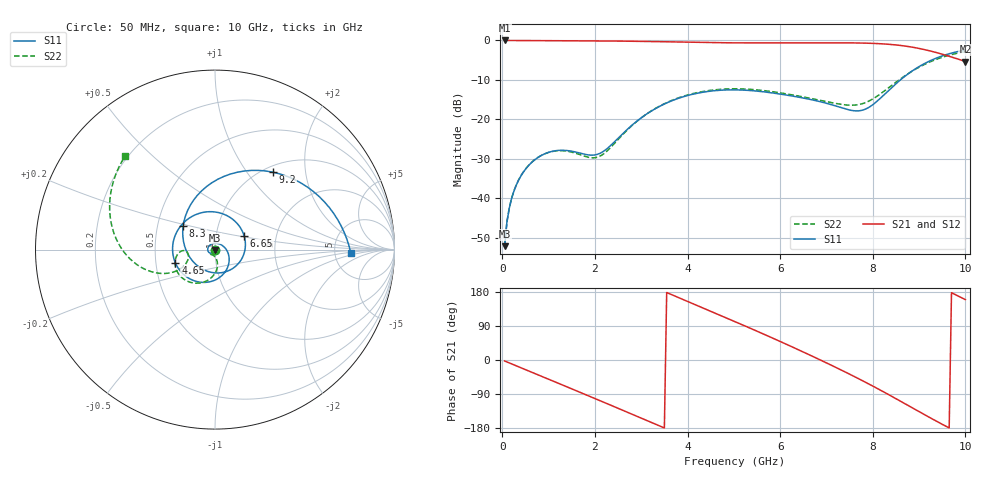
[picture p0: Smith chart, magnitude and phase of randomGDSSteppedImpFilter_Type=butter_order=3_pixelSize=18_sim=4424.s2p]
! freq	dB(S11)	phase(S11)	dB(S12)	phase(S12)
!  dB(S21)	phase(S21)	dB(S22)	phase(S22)
!S-par simulation data
#  GHz  S  DB  R 50
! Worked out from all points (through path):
!   200 points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, 50 MHz to 10 GHz, reference 50 ohm
!   highest |S21| = -0.01 dB at 50 MHz (marker M1); lowest = -5.3 dB at 10 GHz (marker M2)
!   group delay of S21, straight-line fit = 154 ps
!   lowest |S11| = -52.1 dB at 50 MHz (marker M3), VSWR 1.00, Z = 50 - j0.247 ohm
!   |S11| at or under -10 dB: start of sweep to 8.596 GHz
!   |S22| runs from -52.1 to -2.8 dB; largest |S21 - S12| = 0
!   S11 on the Smith chart (normalised r, x): 50 MHz: 1.00, -0.00; 4.65 GHz: 0.63, -0.10; 6.65 GHz: 1.37, +0.21; 8.3 GHz: 0.68, +0.19; 9.2 GHz: 1.10, +1.34; 10 GHz: 7.17, -0.60
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0.05  -52.11 -85.3  -0.01 -2.6  -0.01 -2.6  -52.06 -83.8
0.1  -46.02 -92.4  -0.01 -5.1  -0.01 -5.1  -45.96 -89.4
0.2  -40.09 -101.1  -0.02 -10.2  -0.02 -10.2  -40.02 -95.1
0.55  -31.92 -126.6  -0.04 -28.0  -0.04 -28.0  -31.87 -109.7
1.1  -28.04 -167.4  -0.07 -55.8  -0.07 -55.8  -28.09 -127.0
1.75  -28.75 125.8  -0.11 -88.9  -0.11 -88.9  -29.22 -127.3
2.1  -28.64 68.9  -0.13 -106.8  -0.13 -106.8  -29.37 -103.3
2.5  -24.78 8.0  -0.16 -127.4  -0.16 -127.4  -25.10 -81.3
3.4  -16.68 -73.0  -0.32 -174.2  -0.32 -174.2  -16.61 -94.4
4  -13.96 -115.5  -0.46 154.7  -0.46 154.7  -13.82 -114.2
4.65  -12.66 -161.1  -0.58 120.9  -0.58 120.9  -12.44 -136.0
5.05  -12.53 169.3  -0.61 100.0  -0.61 100.0  -12.25 -148.3
5.8  -13.25 107.5  -0.61 59.9  -0.61 59.9  -12.93 -166.9
6.65  -14.94 24.4  -0.59 12.6  -0.59 12.6  -14.65 -177.7
6.7  -15.07 19.0  -0.59 9.7  -0.59 9.7  -14.77 -178.0
7.45  -17.49 -74.6  -0.61 -34.4  -0.61 -34.4  -16.37 -171.5
7.85  -17.36 -144.1  -0.69 -59.2  -0.69 -59.2  -15.71 -158.4
8.3  -13.14 143.7  -0.93 -88.5  -0.93 -88.5  -12.36 -151.0
8.35  -12.58 137.2  -0.98 -91.8  -0.98 -91.8  -11.92 -151.3
8.8  -8.15 88.0  -1.60 -122.5  -1.60 -122.5  -8.15 -162.6
9.2  -5.36 53.1  -2.55 -149.9  -2.55 -149.9  -5.62 178.9
10  -2.42 -1.3  -5.34 159.4  -5.34 159.4  -2.82 133.8
